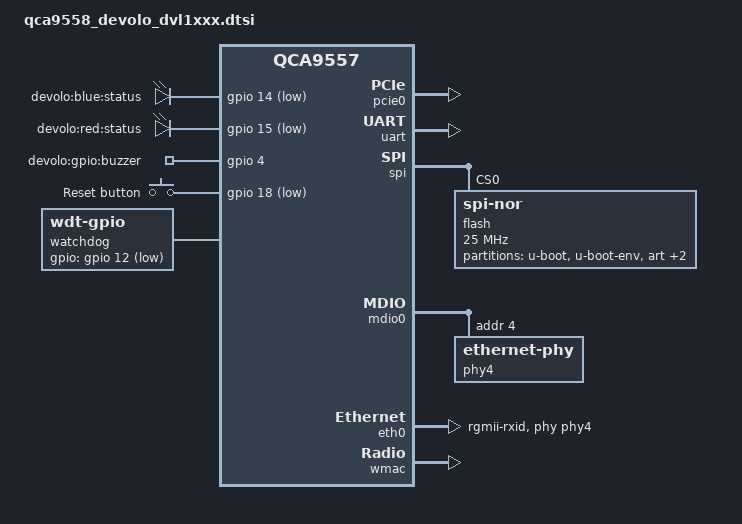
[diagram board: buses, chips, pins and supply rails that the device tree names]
// SPDX-License-Identifier: GPL-2.0-or-later OR MIT
/dts-v1/;

#include <dt-bindings/gpio/gpio.h>
#include <dt-bindings/input/input.h>

#include "qca9557.dtsi"

/ {
	chosen {
		bootargs = "console=ttyS0,115200n8";
	};

	aliases {
		led-boot = &status_blue;
		led-failsafe = &status_blue;
		led-running = &status_blue;
		led-upgrade = &status_blue;
	};

	gpio_leds: leds {
		compatible = "gpio-leds";

		status_blue: status_blue {
			label = "devolo:blue:status";
			gpios = <&gpio 14 GPIO_ACTIVE_LOW>;
			default-state = "on";
		};

		status_red {
			label = "devolo:red:status";
			gpios = <&gpio 15 GPIO_ACTIVE_LOW>;
			default-state = "off";
		};

		buzzer {
			label = "devolo:gpio:buzzer";
			gpios = <&gpio 4 GPIO_ACTIVE_HIGH>;
			default-state = "off";
		};
	};

	gpio_keys: keys {
		compatible = "gpio-keys";

		reset {
			label = "Reset button";
			linux,code = <KEY_RESTART>;
			gpios = <&gpio 18 GPIO_ACTIVE_LOW>;
			debounce-interval = <60>;
		};
	};

	watchdog: watchdog {
		compatible = "linux,wdt-gpio";
		gpios = <&gpio 12 GPIO_ACTIVE_LOW>;
		hw_algo = "toggle";
		hw_margin_ms = <300>;
		always-running;
	};
};

&pcie0 {
	status = "okay";
};

&uart {
	status = "okay";
};

&gpio {
	status = "okay";
};

&spi {
	status = "okay";
	num-cs = <1>;

	flash@0 {
		compatible = "jedec,spi-nor";
		reg = <0>;
		spi-max-frequency = <25000000>;

		partitions {
			compatible = "fixed-partitions";
			#address-cells = <1>;
			#size-cells = <1>;

			uboot: partition@0 {
				label = "u-boot";
				reg = <0x000000 0x040000>;
				read-only;
			};

			partition@40000 {
				label = "u-boot-env";
				reg = <0x040000 0x010000>;
			};

			art: partition@50000 {
				label = "art";
				reg = <0x050000 0x010000>;
				read-only;
			};

			partition@60000 {
				label = "art_bak";
				reg = <0x060000 0x010000>;
                                read-only;
			};

			partition@70000 {
                                compatible = "denx,uimage";
				label = "firmware";
				reg = <0x070000 0xf90000>;
			};
		};
	};
};

&mdio0 {
	status = "okay";

	phy4: ethernet-phy@4 {
		reg = <4>;
		phy-mode = "rgmii-rxid";

		at803x-disable-smarteee;
	};
};

&eth0 {
	status = "okay";

	mtd-mac-address = <&art 0x00>;

	phy-handle = <&phy4>;
	phy-mode = "rgmii-rxid";

	pll-data = <0xae000000 0xa0000101 0xa0001313>;

	gmac-config {
		device = <&gmac>;

		rxdv-delay = <3>;
		rxd-delay = <3>;
		txen-delay = <0>;
		txd-delay = <0>;
		rgmii-enabled = <1>;
	};
};

&wmac {
	status = "okay";
	mtd-cal-data = <&art 0x1000>;
	mtd-mac-address = <&art 0x00>;
	mtd-mac-address-increment = <(-2)>;
};
